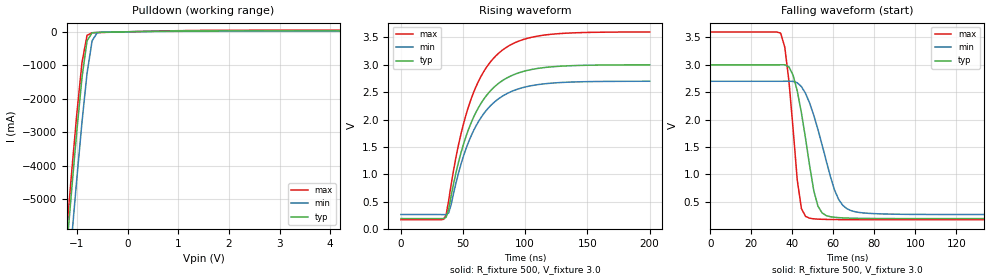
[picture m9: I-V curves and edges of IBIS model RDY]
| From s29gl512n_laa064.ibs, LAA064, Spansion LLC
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[Model]   RDY
Model_type Open_drain
Vmeas=1.5
Cref=30pF
C_comp   8.5pF   8.5pF   8.5pF
[Model Spec]
[Temperature Range] 27   100   0
[Voltage Range]   3.0   2.7   3.6
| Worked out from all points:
|   slope of the pulldown table from 0 to 0.45 V, typ, clamps not added: 37.2 ohm
|   falling waveform, R_fixture 500, V_fixture 3.0: 20-80 % time 7.4ns typ, 11ns min, 4.9ns max; typ from 3 V to 0.192 V
|   rising waveform, R_fixture 500, V_fixture 3.0: 20-80 % time 27.1ns typ, 27.1ns min, 27ns max; typ from 0.192 V to 3 V
[Pulldown]
-3V       -40.82A    -42.15A    -40.34A
-1.2V     -6.46A     -7.91A     -5.932A
-1.1V     -4.665A    -6.113A    -4.138A
-1V       -2.94A     -4.365A    -2.427A
-900mV    -1.371A    -2.707A    -922.8mA
-800mV    -271.2mA   -1.242A    -106.6mA
-700mV    -30.18mA   -270.1mA   -29.39mA
-600mV    -18.84mA   -29.53mA   -24.05mA
-500mV    -15.53mA   -11.39mA   -20.06mA
1.6V      26.13mA    14.89mA    42.76mA
6V        28.18mA    16.07mA    48mA
[Falling Waveform]
R_fixture=500
V_fixture=3.0
V_fixture_min=2.7
V_fixture_max=3.6
0s        3V         2.7V       3.6V
34.34ns   3.001V     2.7V       3.58V
36.36ns   3.001V     2.7V       3.32V
40.4ns    2.811V     2.698V     1.831V
42.42ns   2.524V     2.673V     900.6mV
46.46ns   1.658V     2.48V      232.3mV
52.53ns   418.5mV    1.818V     182.1mV
60.61ns   215.3mV    714.3mV    174.2mV
68.69ns   199.3mV    336.9mV    172.4mV
200ns     191.6mV    266.1mV    171.7mV
[Rising Waveform]
R_fixture=500
V_fixture=3.0
V_fixture_min=2.7
V_fixture_max=3.6
0s        191.6mV    266.1mV    171.7mV
34.34ns   190.8mV    263.8mV    178.3mV
36.36ns   216mV      263.7mV    259.7mV
38.38ns   360.4mV    293.7mV    519.6mV
46.46ns   1.236V     1.037V     1.554V
56.57ns   1.947V     1.707V     2.382V
66.67ns   2.374V     2.109V     2.878V
80.81ns   2.698V     2.415V     3.253V
115.2ns   2.949V     2.652V     3.542V
200ns     2.999V     2.699V     3.599V
[Ramp]
R_load=500
dV/dt_r   1.685E+0/2.709E-8   1.460E+0/2.707E-8   2.057E+0/2.695E-8
dV/dt_f   1.685E+0/7.293E-9   1.460E+0/1.093E-8   2.057E+0/4.732E-9
|[End   RDY
